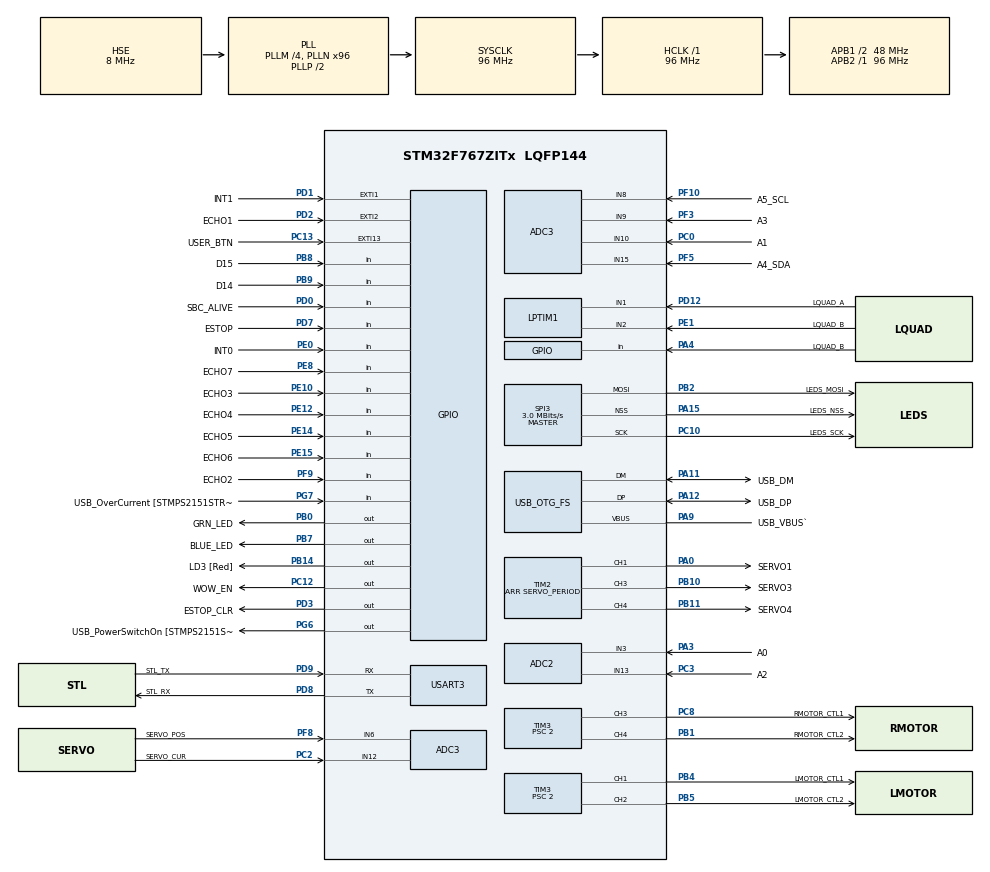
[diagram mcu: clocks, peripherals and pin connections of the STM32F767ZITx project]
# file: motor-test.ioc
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PD12.GPIO_Label=LQUAD_A
VP_SYS_VS_tim6.Mode=TIM6
SPI3.Direction=SPI_DIRECTION_2LINES
SPI3.VirtualType=VM_MASTER
NVIC.TIM6_DAC_IRQn=true\:0\:0\:false\:false\:true\:false\:true
PC12.Signal=GPIO_Output
PB14.GPIO_Label=LD3 [Red]
PG6.GPIO_Label=USB_PowerSwitchOn [STMPS2151STR_EN]
PA14.GPIO_Label=SWCLK
PC6.GPIO_Label=RQUAD_A
PA6.GPIO_Label=D12_MISO
PB6.GPIO_Label=SBC_RX
PB13.Signal=UART5_TX
PD6.GPIO_Label=WOW_TX
PG13.Signal=ETH_TXD0
TIM3.Channel-PWM\ Generation4\ CH4=TIM_CHANNEL_4
PE6.GPIO_Label=DIO_MOSI
RCC.SYSCLKSource=RCC_SYSCLKSOURCE_PLLCLK
USART3.VirtualMode-Asynchronous=VM_ASYNC
PF7.Signal=UART7_TX
SPI3.VirtualNSS=VM_NSSHARD
RCC.APB2TimFreq_Value=96000000
PB6.Signal=USART1_TX
PC7.Signal=S_TIM8_CH2
PH1/OSC_OUT.Signal=RCC_OSC_OUT
PC3.Signal=ADCx_IN13
PD0.Signal=GPIO_Input
PD8.Signal=USART3_TX
PE5.Signal=SPI4_MISO
PE1.Signal=LPTIM1_IN2
PF10.GPIO_Label=A5_SCL
PB2.Signal=SPI3_MOSI
PF1.GPIO_Label=MISC_SCL
PD1.GPIO_Label=INT1
PB12.GPIO_Label=LIDAR_TX
PC4.GPIO_Label=RMII_RXD0 [LAN8742A-CZ-TR_RXD0]
PE9.Signal=S_TIM1_CH1
PB1.GPIO_Label=RMOTOR_CTL2
PE4.GPIO_Label=DIO_NSS
SH.S_TIM4_CH2.0=TIM4_CH2
PE2.Signal=SPI4_SCK
PF8.Mode=IN6
PA8.Signal=I2C3_SCL
PF3.Signal=ADC3_IN9
PE10.Signal=GPIO_Input
Mcu.Package=LQFP144
PB9.Signal=GPIO_Input
TIM2.Prescaler=SERVO_PRESCALER
PB1.Signal=S_TIM3_CH4
NVIC.TimeBase=TIM6_DAC_IRQn
SPI3.Mode=SPI_MODE_MASTER
PD12.Signal=LPTIM1_IN1
ADC3.Rank-0\#ChannelRegularConversion=1
NVIC.TimeBaseIP=TIM6
PA10.Signal=USB_OTG_FS_ID
PE12.GPIO_Label=ECHO4
RCC.APB1TimFreq_Value=96000000
PF10.Mode=IN8
PE10.GPIO_Label=ECHO3
PA4.GPIO_Label=LQUAD_B
PD15.Signal=S_TIM4_CH4
PD9.GPIO_Label=STL_TX
TIM3.AutoReloadPreload=TIM_AUTORELOAD_PRELOAD_ENABLE
PG9.Signal=USART6_RX
PC13.Signal=GPXTI13
PA9.GPIO_Label=USB_VBUS`
PD3.Signal=GPIO_Output
PE1.Mode=Encoder_mode_occur1
PC2.Signal=ADCx_IN12
PC6.Signal=S_TIM8_CH1
PB11.GPIO_Label=SERVO4
PD7.Signal=GPIO_Input
PD1.Signal=GPXTI1
PA11.GPIO_Label=USB_DM
PC0.Signal=ADCx_IN10
RCC.APB1CLKDivider=RCC_HCLK_DIV2
PG13.GPIO_Label=RMII_TXD0 [LAN8742A-CZ-TR_TXD0]
SH.S_TIM8_CH2.0=TIM8_CH2
PF8.GPIO_Label=SERVO_POS
TIM3.Channel-PWM\ Generation3\ CH3=TIM_CHANNEL_3
PB8.GPIO_Label=D15
PE8.GPIO_Label=ECHO7
PA9.Signal=USB_OTG_FS_VBUS
PE9.GPIO_Label=D6_PWM
PD8.Mode=Asynchronous
PB10.Signal=S_TIM2_CH3
PB14.Signal=GPIO_Output
PA5.Signal=SPI1_SCK
SH.S_TIM8_CH1.0=TIM8_CH1
PE1.GPIO_Label=LQUAD_B
PE14.Signal=GPIO_Input
PE15.Signal=GPIO_Input
PB4.GPIO_Label=LMOTOR_CTL1
RCC.PRESCALERUSB=RCC_USBCLKSOURCE_PLL_DIV1_5
PB15.GPIO_Label=SBC_TX
PE8.Signal=GPIO_Input
PG7.GPIO_Label=USB_OverCurrent [STMPS2151STR_FAULT]
PA1.GPIO_Label=RMII_REF_CLK [LAN8742A-CZ-TR_REFCLK0]
PA0/WKUP.GPIO_Label=SERVO1
TIM2.Period=SERVO_PERIOD
PA13.Mode=Serial_Wire
PG14.GPIO_Label=D1_TX
PC7.GPIO_Label=RQUAD_B
PA4.Signal=GPIO_Input
PB5.Signal=S_TIM3_CH2
PE13.GPIO_Label=D3_PWM
PD12.Mode=Encoder_mode_occur1
PA5.GPIO_Label=D13_SCK
ADC2.NbrOfConversionFlag=1
PE5.GPIO_Label=DIO_MOSO
PC12.GPIO_Label=WOW_EN
PA11.Signal=USB_OTG_FS_DM
SH.S_TIM2_CH1_ETR.0=TIM2_CH1,PWM Generation1 CH1
ProjectManager.HeapSize=0x200
PF9.Signal=GPIO_Input
NVIC.PriorityGroup=NVIC_PRIORITYGROUP_4
TIM3.Channel-PWM\ Generation2\ CH2=TIM_CHANNEL_2
PF0.GPIO_Label=MISC_SDA
PC3.GPIO_Label=A2
PC15/OSC32_OUT.Signal=RCC_OSC32_OUT
PD2.Signal=GPXTI2
PB0.Signal=GPIO_Output
PC1.Signal=ETH_MDC
PD2.GPIO_Label=ECHO1
Mcu.Family=STM32F7
RCC.CortexFreq_Value=96000000
PG6.Signal=GPIO_Output
ADC2.Channel-0\#ChannelRegularConversion=ADC_CHANNEL_13
PE11.GPIO_Label=D5_PWM
PC10.Signal=SPI3_SCK
RCC.SYSCLKSourceVirtual=RCC_SYSCLKSOURCE_PLLCLK
PB2.GPIO_Speed=GPIO_SPEED_FREQ_VERY_HIGH
PC0.GPIO_Label=A1
PD0.GPIO_Label=SBC_ALIVE
PA11.Mode=Device_Only
PA0/WKUP.Signal=S_TIM2_CH1_ETR
PC14/OSC32_IN.Mode=LSE-External-Oscillator
PB0.GPIO_Label=GRN_LED
PC10.GPIO_Speed=GPIO_SPEED_FREQ_VERY_HIGH
PC13.GPIO_Label=USER_BTN
PB13.GPIO_Label=LIDAR_RX
PB11.Signal=S_TIM2_CH4
PB15.Signal=USART1_RX
ADC3.Channel-0\#ChannelRegularConversion=ADC_CHANNEL_9
PD9.Mode=Asynchronous
PG11.Signal=ETH_TX_EN
ProjectManager.StackSize=0x400
PD13.Signal=S_TIM4_CH2
PA15.GPIO_Label=LEDS_NSS
PA12.Signal=USB_OTG_FS_DP
Mcu.UserConstants=MTR_PWM_PERIOD,1280;SERVO_PERIOD,20000;SERVO_PRESCALER,96
PH0/OSC_IN.Mode=HSE-External-Clock-Source
RCC.HCLKFreq_Value=96000000
SH.ADCx_IN3.0=ADC2_IN3,IN3
TIM3.Period=MTR_PWM_PERIOD
RCC.AHBFreq_Value=96000000
SPI3.DataSize=SPI_DATASIZE_16BIT
TIM3.Channel-PWM\ Generation1\ CH1=TIM_CHANNEL_1
RCC.HSE_VALUE=8000000
PA15.Mode=NSS_Signal_Hard_Output
RCC.PLLMUL=RCC_PLL_MUL9
PE13.Signal=S_TIM1_CH3
PF7.GPIO_Label=FPGA_RX
PA14.Mode=Serial_Wire
TIM3.Prescaler=2
PC11.GPIO_Label=LEDS_MISO
PA10.GPIO_Label=USB_ID
PB7.Signal=GPIO_Output
TIM2.Channel-PWM\ Generation1\ CH1=TIM_CHANNEL_1
SH.S_TIM3_CH1.0=TIM3_CH1,PWM Generation1 CH1
PH1/OSC_OUT.Mode=HSE-External-Clock-Source
PE4.Signal=SPI4_NSS
PD7.GPIO_Label=ESTOP
PB7.GPIO_Label=BLUE_LED
PD13.GPIO_Label=LIDAR_PWM
PA6.Signal=SPI1_MISO
PC14/OSC32_IN.Signal=RCC_OSC32_IN
PD5.GPIO_Label=WOW_RX
PA2.GPIO_Label=RMII_MDIO [LAN8742A-CZ-TR_MDIO]
PF5.GPIO_Label=A4_SDA
USB_OTG_FS.VirtualMode=Device_Only
PA15.Signal=SPI3_NSS
PF8.Signal=ADC3_IN6
ADC2.SamplingTime-0\#ChannelRegularConversion=ADC_SAMPLETIME_3CYCLES
PE0.GPIO_Label=INT0
PF5.Signal=ADC3_IN15
PB5.GPIO_Label=LMOTOR_CTL2
PG11.GPIO_Label=RMII_TX_EN [LAN8742A-CZ-TR_TXEN]
PF0.Signal=I2C2_SDA
PC5.Signal=ETH_RXD1
PD3.GPIO_Label=ESTOP_CLR
PE7.Signal=UART7_RX
ADC2.Rank-0\#ChannelRegularConversion=1
PD6.Signal=USART2_RX
PF3.GPIO_Label=A3
PE2.GPIO_Label=DIO_SCK
PC2.GPIO_Label=SERVO_CUR
VP_TIM3_VS_ClockSourceINT.Mode=Internal
PB4.Signal=S_TIM3_CH1
PA3.Signal=ADCx_IN3
PB3.GPIO_Label=SERVO2
TIM2.Channel-PWM\ Generation4\ CH4=TIM_CHANNEL_4
SH.ADCx_IN13.0=ADC2_IN13,IN13
PD15.GPIO_Label=D9_PWM
PG7.Signal=GPIO_Input
PF3.Mode=IN9
PB9.GPIO_Label=D14
PC10.GPIO_Label=LEDS_SCK
PC9.GPIO_Label=A4_SDA
SH.S_TIM4_CH4.0=TIM4_CH4
PC11.Signal=SPI3_MISO
PC8.Signal=S_TIM3_CH3
PC4.Signal=ETH_RXD0
PC10.Mode=TX_Only_Simplex_Unidirect_Master
PE14.GPIO_Label=ECHO5
PD9.Signal=USART3_RX
PD5.Signal=USART2_TX
SH.S_TIM3_CH3.0=TIM3_CH3,PWM Generation3 CH3
PA12.GPIO_Label=USB_DP
PF5.Mode=IN15
PD8.GPIO_Label=STL_RX
PC8.GPIO_Label=RMOTOR_CTL1
PA13.Signal=SYS_JTMS-SWDIO
SH.S_TIM2_CH2.0=TIM2_CH2
PA9.Mode=Activate_VBUS
SH.ADCx_IN12.0=ADC3_IN12,IN12
ADC3.SamplingTime-0\#ChannelRegularConversion=ADC_SAMPLETIME_3CYCLES
SH.S_TIM1_CH1.0=TIM1_CH1
PE15.GPIO_Label=ECHO6
ProjectManager.TargetToolchain=STM32CubeIDE
PB10.GPIO_Label=SERVO3
SH.S_TIM4_CH3.0=TIM4_CH3
RCC.USBFreq_Value=48000000
PF9.GPIO_Label=ECHO2
PE11.Signal=S_TIM1_CH2
PA1.Signal=ETH_REF_CLK
PG9.GPIO_Label=D0_RX
PG14.Signal=USART6_TX
SH.S_TIM3_CH2.0=TIM3_CH2,PWM Generation2 CH2
board=NUCLEO-F767ZI
RCC.VCOOutputFreq_Value=192000000
PH0/OSC_IN.Signal=RCC_OSC_IN
RCC.APB2Freq_Value=96000000
SPI3.CalculateBaudRate=3.0 MBits/s
SH.S_TIM1_CH2.0=TIM1_CH2
VP_TIM2_VS_ClockSourceINT.Mode=Internal
SH.S_TIM2_CH3.0=TIM2_CH3,PWM Generation3 CH3
PF10.Signal=ADC3_IN8
SPI3.BaudRatePrescaler=SPI_BAUDRATEPRESCALER_16
PC1.GPIO_Label=RMII_MDC [LAN8742A-CZ-TR_MDC]
TIM2.Channel-PWM\ Generation3\ CH3=TIM_CHANNEL_3
PD14.GPIO_Label=D10_PWM_NSS
PF1.Signal=I2C2_SCL
PE6.Signal=SPI4_MOSI
Mcu.Name=STM32F767ZITx
PE0.Signal=GPIO_Input
PE7.GPIO_Label=FPGA_TX
PE12.Signal=GPIO_Input
PA2.Signal=ETH_MDIO
PA13.GPIO_Label=SWDIO
PD14.Signal=S_TIM4_CH3
RCC.48MHZClocksFreq_Value=24000000
PB3.Signal=S_TIM2_CH2
RCC.SYSCLKFreq_VALUE=96000000
PA7.GPIO_Label=D11_PWM_MOSI
PA12.Mode=Device_Only
PC5.GPIO_Label=RMII_RXD1 [LAN8742A-CZ-TR_RXD1]
PC15/OSC32_OUT.Mode=LSE-External-Oscillator
PB2.Mode=TX_Only_Simplex_Unidirect_Master
PA15.GPIO_Speed=GPIO_SPEED_FREQ_VERY_HIGH
PA14.Signal=SYS_JTCK-SWCLK
SH.ADCx_IN10.0=ADC3_IN10,IN10
PB2.GPIO_Label=LEDS_MOSI
SH.S_TIM2_CH4.0=TIM2_CH4,PWM Generation4 CH4
SH.S_TIM1_CH3.0=TIM1_CH3
RCC.HSI_VALUE=16000000
PH0/OSC_IN.GPIO_Label=MCO [STM32F103CBT6_PA8]
RCC.PLLQ=4
RCC.PLLM=4
RCC.PLLN=96
PB8.Signal=GPIO_Input
PC9.Signal=I2C3_SDA
RCC.APB1Freq_Value=48000000
ADC3.NbrOfConversionFlag=1
PB12.Signal=UART5_RX
PA3.GPIO_Label=A0
SH.S_TIM3_CH4.0=TIM3_CH4,PWM Generation4 CH4
PA7.Signal=SPI1_MOSI

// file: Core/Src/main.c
/* USER CODE BEGIN Header */
/**
  ******************************************************************************
  * @file           : main.c
  * @brief          : Main program body
  ******************************************************************************
  * @attention
  *
  * <h2><center>&copy; Copyright (c) 2021 STMicroelectronics.
  * All rights reserved.</center></h2>
  *
  * This software component is licensed by ST under Ultimate Liberty license
  * SLA0044, the "License"; You may not use this file except in compliance with
  * the License. You may obtain a copy of the License at:
  *                             www.st.com/SLA0044
  *
  ******************************************************************************
  */
/* USER CODE END Header */
#include "main.h"
#include "adc.h"
#include "lptim.h"
#include "spi.h"
#include "tim.h"
#include "usart.h"
#include "usb_otg.h"
#include "gpio.h"

/* USER CODE BEGIN PD */
#define MOTOR_PWM_MIN 500
#define MOTOR_PWM_MAX 1000
#define MOTOR_DELAY 10
/* USER CODE END PD */

void SystemClock_Config(void);

/* USER CODE BEGIN 0 */
void button_probe(void)
{
  int button = HAL_GPIO_ReadPin(USER_BTN_GPIO_Port, USER_BTN_Pin);
  if (button)
	HAL_GPIO_WritePin(GRN_LED_GPIO_Port, GRN_LED_Pin, GPIO_PIN_SET);
  else
	HAL_GPIO_WritePin(GRN_LED_GPIO_Port, GRN_LED_Pin, GPIO_PIN_RESET);
}

/* USER CODE END 0 */

int main(void)
{

  /* MCU Configuration--------------------------------------------------------*/

  /* Reset of all peripherals, Initializes the Flash interface and the Systick. */
  HAL_Init();

  /* Configure the system clock */
  SystemClock_Config();

  /* Initialize all configured peripherals */
  MX_GPIO_Init();
  MX_USART3_UART_Init();
  MX_USB_OTG_FS_PCD_Init();
  MX_ADC2_Init();
  MX_ADC3_Init();
  MX_LPTIM1_Init();
  MX_TIM3_Init();
  MX_SPI3_Init();
  MX_TIM2_Init();
  /* USER CODE BEGIN 2 */

  // start the PWM outputs
  HAL_TIM_PWM_Start(&htim3,TIM_CHANNEL_1);
  HAL_TIM_PWM_Start(&htim3,TIM_CHANNEL_2);
  HAL_TIM_PWM_Start(&htim3,TIM_CHANNEL_3);
  HAL_TIM_PWM_Start(&htim3,TIM_CHANNEL_4);

  /* USER CODE END 2 */

  /* Infinite loop */
  /* USER CODE BEGIN WHILE */

  HAL_Delay(1000);

  // clear ESTOP
  HAL_GPIO_WritePin(ESTOP_CLR_GPIO_Port, ESTOP_CLR_Pin, GPIO_PIN_RESET);
  HAL_GPIO_WritePin(ESTOP_CLR_GPIO_Port, ESTOP_CLR_Pin, GPIO_PIN_SET);
  HAL_GPIO_WritePin(ESTOP_CLR_GPIO_Port, ESTOP_CLR_Pin, GPIO_PIN_RESET);

  HAL_Delay(1);

  while (1)
  {
    /* USER CODE END WHILE */

    /* USER CODE BEGIN 3 */

	button_probe();

    int estop = HAL_GPIO_ReadPin(ESTOP_GPIO_Port, ESTOP_Pin);
    if (estop)
      HAL_GPIO_WritePin(BLUE_LED_GPIO_Port, BLUE_LED_Pin, GPIO_PIN_SET);
    else
      HAL_GPIO_WritePin(BLUE_LED_GPIO_Port, BLUE_LED_Pin, GPIO_PIN_RESET);

    uint16_t pw = MOTOR_PWM_MIN;

    // ramp up "forward"
    for (; pw < MOTOR_PWM_MAX; pw += 1) {
      button_probe();
      __HAL_TIM_SET_COMPARE(&htim3, TIM_CHANNEL_1, pw);
      __HAL_TIM_SET_COMPARE(&htim3, TIM_CHANNEL_2, 0);
      __HAL_TIM_SET_COMPARE(&htim3, TIM_CHANNEL_3, pw);
      __HAL_TIM_SET_COMPARE(&htim3, TIM_CHANNEL_4, 0);
      HAL_Delay(MOTOR_DELAY);
    }

    HAL_Delay(1000);

    // ramp down "forward"
    for (; pw > MOTOR_PWM_MIN; pw -= 1) {
      button_probe();
      __HAL_TIM_SET_COMPARE(&htim3, TIM_CHANNEL_1, pw);
      __HAL_TIM_SET_COMPARE(&htim3, TIM_CHANNEL_2, 0);
      __HAL_TIM_SET_COMPARE(&htim3, TIM_CHANNEL_3, pw);
      __HAL_TIM_SET_COMPARE(&htim3, TIM_CHANNEL_4, 0);
      HAL_Delay(MOTOR_DELAY);
    }

    //HAL_Delay(250);

    // ramp up "backward"
    for (; pw < MOTOR_PWM_MAX; pw += 1) {
      button_probe();
      __HAL_TIM_SET_COMPARE(&htim3, TIM_CHANNEL_1, 0);
      __HAL_TIM_SET_COMPARE(&htim3, TIM_CHANNEL_2, pw);
      __HAL_TIM_SET_COMPARE(&htim3, TIM_CHANNEL_3, 0);
      __HAL_TIM_SET_COMPARE(&htim3, TIM_CHANNEL_4, pw);
      HAL_Delay(MOTOR_DELAY);
    }

    HAL_Delay(1000);

    // ramp down "backward"
    for (; pw > MOTOR_PWM_MIN; pw -= 1) {
      button_probe();
      __HAL_TIM_SET_COMPARE(&htim3, TIM_CHANNEL_1, 0);
      __HAL_TIM_SET_COMPARE(&htim3, TIM_CHANNEL_2, pw);
      __HAL_TIM_SET_COMPARE(&htim3, TIM_CHANNEL_3, 0);
      __HAL_TIM_SET_COMPARE(&htim3, TIM_CHANNEL_4, pw);
      HAL_Delay(MOTOR_DELAY);
    }

    //HAL_Delay(250);
  }
  /* USER CODE END 3 */
}

void SystemClock_Config(void)
{
  RCC_OscInitTypeDef RCC_OscInitStruct = {0};
  RCC_ClkInitTypeDef RCC_ClkInitStruct = {0};
  RCC_PeriphCLKInitTypeDef PeriphClkInitStruct = {0};

  /** Configure LSE Drive Capability
  */
  HAL_PWR_EnableBkUpAccess();
  /** Configure the main internal regulator output voltage
  */
  __HAL_RCC_PWR_CLK_ENABLE();
  __HAL_PWR_VOLTAGESCALING_CONFIG(PWR_REGULATOR_VOLTAGE_SCALE3);
  /** Initializes the RCC Oscillators according to the specified parameters
  * in the RCC_OscInitTypeDef structure.
  */
  RCC_OscInitStruct.OscillatorType = RCC_OSCILLATORTYPE_HSE;
  RCC_OscInitStruct.HSEState = RCC_HSE_BYPASS;
  RCC_OscInitStruct.PLL.PLLState = RCC_PLL_ON;
  RCC_OscInitStruct.PLL.PLLSource = RCC_PLLSOURCE_HSE;
  RCC_OscInitStruct.PLL.PLLM = 4;
  RCC_OscInitStruct.PLL.PLLN = 96;
  RCC_OscInitStruct.PLL.PLLP = RCC_PLLP_DIV2;
  RCC_OscInitStruct.PLL.PLLQ = 4;
  if (HAL_RCC_OscConfig(&RCC_OscInitStruct) != HAL_OK)
  {
    Error_Handler();
  }
  /** Activate the Over-Drive mode
  */
  if (HAL_PWREx_EnableOverDrive() != HAL_OK)
  {
    Error_Handler();
  }
  /** Initializes the CPU, AHB and APB buses clocks
  */
  RCC_ClkInitStruct.ClockType = RCC_CLOCKTYPE_HCLK|RCC_CLOCKTYPE_SYSCLK
                              |RCC_CLOCKTYPE_PCLK1|RCC_CLOCKTYPE_PCLK2;
  RCC_ClkInitStruct.SYSCLKSource = RCC_SYSCLKSOURCE_PLLCLK;
  RCC_ClkInitStruct.AHBCLKDivider = RCC_SYSCLK_DIV1;
  RCC_ClkInitStruct.APB1CLKDivider = RCC_HCLK_DIV2;
  RCC_ClkInitStruct.APB2CLKDivider = RCC_HCLK_DIV1;

  if (HAL_RCC_ClockConfig(&RCC_ClkInitStruct, FLASH_LATENCY_3) != HAL_OK)
  {
    Error_Handler();
  }
  PeriphClkInitStruct.PeriphClockSelection = RCC_PERIPHCLK_USART3|RCC_PERIPHCLK_LPTIM1
                              |RCC_PERIPHCLK_CLK48;
  PeriphClkInitStruct.Usart3ClockSelection = RCC_USART3CLKSOURCE_PCLK1;
  PeriphClkInitStruct.Lptim1ClockSelection = RCC_LPTIM1CLKSOURCE_PCLK;
  PeriphClkInitStruct.Clk48ClockSelection = RCC_CLK48SOURCE_PLL;
  if (HAL_RCCEx_PeriphCLKConfig(&PeriphClkInitStruct) != HAL_OK)
  {
    Error_Handler();
  }
}

 /**
  * @brief  Period elapsed callback in non blocking mode
  * @note   This function is called  when TIM6 interrupt took place, inside
  * HAL_TIM_IRQHandler(). It makes a direct call to HAL_IncTick() to increment
  * a global variable "uwTick" used as application time base.
  * @param  htim : TIM handle
  * @retval None
  */
void HAL_TIM_PeriodElapsedCallback(TIM_HandleTypeDef *htim)
{
  if (htim->Instance == TIM6) {
    HAL_IncTick();
  }
}

void Error_Handler(void)
{
  __disable_irq();
  while (1)
  {
  }
}

/************************ (C) COPYRIGHT STMicroelectronics *****END OF FILE****/
